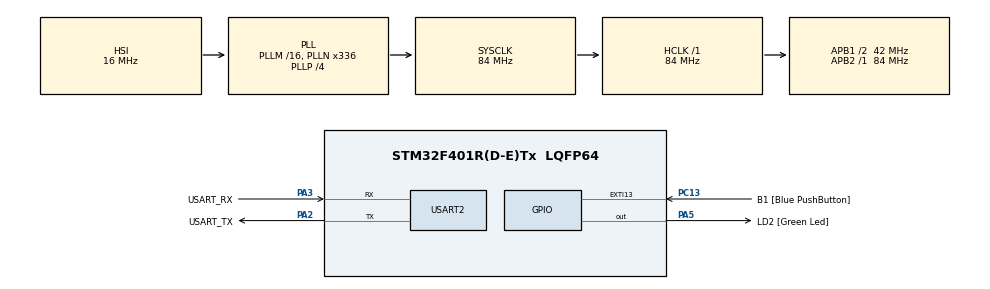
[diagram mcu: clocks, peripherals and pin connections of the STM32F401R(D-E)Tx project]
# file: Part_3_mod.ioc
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Dma.MEMTOMEM.0.Direction=DMA_MEMORY_TO_MEMORY
Dma.MEMTOMEM.0.FIFOMode=DMA_FIFOMODE_ENABLE
Dma.MEMTOMEM.0.FIFOThreshold=DMA_FIFO_THRESHOLD_1QUARTERFULL
Dma.MEMTOMEM.0.Instance=DMA2_Stream0
Dma.MEMTOMEM.0.MemBurst=DMA_MBURST_SINGLE
Dma.MEMTOMEM.0.MemDataAlignment=DMA_MDATAALIGN_WORD
Dma.MEMTOMEM.0.MemInc=DMA_MINC_ENABLE
Dma.MEMTOMEM.0.Mode=DMA_NORMAL
Dma.MEMTOMEM.0.PeriphBurst=DMA_PBURST_SINGLE
Dma.MEMTOMEM.0.PeriphDataAlignment=DMA_PDATAALIGN_WORD
Dma.MEMTOMEM.0.PeriphInc=DMA_PINC_ENABLE
Dma.MEMTOMEM.0.Priority=DMA_PRIORITY_HIGH
Dma.Request0=MEMTOMEM
Mcu.Family=STM32F4
Mcu.Name=STM32F401R(D-E)Tx
Mcu.Package=LQFP64
NVIC.DMA2_Stream0_IRQn=true\:1\:0\:true\:false\:true\:true\:true\:true
NVIC.EXTI15_10_IRQn=true\:0\:0\:false\:false\:true\:true\:true\:true
NVIC.PriorityGroup=NVIC_PRIORITYGROUP_4
PA13.GPIO_Label=TMS
PA13.Mode=Serial_Wire
PA13.Signal=SYS_JTMS-SWDIO
PA14.GPIO_Label=TCK
PA14.Mode=Serial_Wire
PA14.Signal=SYS_JTCK-SWCLK
PA2.GPIO_Label=USART_TX
PA2.GPIO_Mode=GPIO_MODE_AF_PP
PA2.GPIO_PuPd=GPIO_NOPULL
PA2.GPIO_Speed=GPIO_SPEED_FREQ_LOW
PA2.Mode=Asynchronous
PA2.Signal=USART2_TX
PA3.GPIO_Label=USART_RX
PA3.GPIO_Mode=GPIO_MODE_AF_PP
PA3.GPIO_PuPd=GPIO_NOPULL
PA3.GPIO_Speed=GPIO_SPEED_FREQ_LOW
PA3.Mode=Asynchronous
PA3.Signal=USART2_RX
PA5.GPIO_Label=LD2 [Green Led]
PA5.GPIO_Mode=GPIO_MODE_OUTPUT_PP
PA5.GPIO_PuPd=GPIO_NOPULL
PA5.GPIO_Speed=GPIO_SPEED_FREQ_LOW
PA5.Signal=GPIO_Output
PB3.GPIO_Label=SWO
PB3.Signal=SYS_JTDO-SWO
PC13-ANTI_TAMP.GPIO_Label=B1 [Blue PushButton]
PC13-ANTI_TAMP.GPIO_ModeDefaultEXTI=GPIO_MODE_IT_FALLING
PC13-ANTI_TAMP.GPIO_PuPd=GPIO_NOPULL
PC13-ANTI_TAMP.Signal=GPXTI13
PC14-OSC32_IN.Mode=LSE-External-Oscillator
PC14-OSC32_IN.Signal=RCC_OSC32_IN
PC15-OSC32_OUT.Mode=LSE-External-Oscillator
PC15-OSC32_OUT.Signal=RCC_OSC32_OUT
PH0\ -\ OSC_IN.Mode=HSE-External-Clock-Source
PH0\ -\ OSC_IN.Signal=RCC_OSC_IN
PH1\ -\ OSC_OUT.Mode=HSE-External-Clock-Source
PH1\ -\ OSC_OUT.Signal=RCC_OSC_OUT
ProjectManager.HeapSize=0x200
ProjectManager.StackSize=0x400
ProjectManager.TargetToolchain=STM32CubeIDE
RCC.48MHZClocksFreq_Value=48000000
RCC.AHBFreq_Value=84000000
RCC.APB1CLKDivider=RCC_HCLK_DIV2
RCC.APB1Freq_Value=42000000
RCC.APB1TimFreq_Value=84000000
RCC.APB2Freq_Value=84000000
RCC.APB2TimFreq_Value=84000000
RCC.CortexFreq_Value=84000000
RCC.HCLKFreq_Value=84000000
RCC.HSE_VALUE=8000000
RCC.HSI_VALUE=16000000
RCC.PLLN=336
RCC.PLLP=RCC_PLLP_DIV4
RCC.PLLQ=7
RCC.SYSCLKFreq_VALUE=84000000
RCC.SYSCLKSource=RCC_SYSCLKSOURCE_PLLCLK
RCC.VCOOutputFreq_Value=336000000
USART2.VirtualMode=VM_ASYNC
board=NUCLEO-F401RE

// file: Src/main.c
/* USER CODE BEGIN Header */
/**
  ******************************************************************************
  * @file           : main.c
  * @brief          : Main program body
  ******************************************************************************
  * @attention
  *
  * Copyright (c) 2024 STMicroelectronics.
  * All rights reserved.
  *
  * This software is licensed under terms that can be found in the LICENSE file
  * in the root directory of this software component.
  * If no LICENSE file comes with this software, it is provided AS-IS.
  *
  ******************************************************************************
  */
/* USER CODE END Header */
#include "main.h"
#include "dma.h"
#include "usart.h"
#include "gpio.h"

/* USER CODE BEGIN PD */

#define BUFFER_SIZE 4

/* USER CODE END PD */

/* USER CODE BEGIN PV */

static const uint32_t Flash_Buffer[BUFFER_SIZE]= {0x4E41554A, 0x36373839, 0x32333435, 0x34343031};

static uint32_t SRAM_Buffer[BUFFER_SIZE];

uint32_t *SRAM_ptr = SRAM_Buffer;

/* USER CODE END PV */

void SystemClock_Config(void);
/* USER CODE BEGIN PFP */

void Error_Handler(void);
static void TransferComplete(DMA_HandleTypeDef *DmaHandle);
static void TransferError(DMA_HandleTypeDef *DmaHandle);

/* USER CODE END PFP */

int main(void)
{

  /* MCU Configuration--------------------------------------------------------*/

  /* Reset of all peripherals, Initializes the Flash interface and the Systick. */
  HAL_Init();

  /* Configure the system clock */
  SystemClock_Config();

  /* Initialize all configured peripherals */
  MX_GPIO_Init();
  MX_DMA_Init();
  MX_USART2_UART_Init();
  /* USER CODE BEGIN 2 */

  HAL_DMA_RegisterCallback(&hdma_memtomem_dma2_stream0, HAL_DMA_XFER_CPLT_CB_ID, TransferComplete);
  HAL_DMA_RegisterCallback(&hdma_memtomem_dma2_stream0, HAL_DMA_XFER_ERROR_CB_ID, TransferError);

  //HAL_UART_MspInit(&huart2);

  /* USER CODE END 2 */

  /* Infinite loop */
  while (1)
  {

  }
}

void SystemClock_Config(void)
{
  RCC_OscInitTypeDef RCC_OscInitStruct = {0};
  RCC_ClkInitTypeDef RCC_ClkInitStruct = {0};

  /** Configure the main internal regulator output voltage
  */
  __HAL_RCC_PWR_CLK_ENABLE();
  __HAL_PWR_VOLTAGESCALING_CONFIG(PWR_REGULATOR_VOLTAGE_SCALE2);

  /** Initializes the RCC Oscillators according to the specified parameters
  * in the RCC_OscInitTypeDef structure.
  */
  RCC_OscInitStruct.OscillatorType = RCC_OSCILLATORTYPE_HSI;
  RCC_OscInitStruct.HSIState = RCC_HSI_ON;
  RCC_OscInitStruct.HSICalibrationValue = RCC_HSICALIBRATION_DEFAULT;
  RCC_OscInitStruct.PLL.PLLState = RCC_PLL_ON;
  RCC_OscInitStruct.PLL.PLLSource = RCC_PLLSOURCE_HSI;
  RCC_OscInitStruct.PLL.PLLM = 16;
  RCC_OscInitStruct.PLL.PLLN = 336;
  RCC_OscInitStruct.PLL.PLLP = RCC_PLLP_DIV4;
  RCC_OscInitStruct.PLL.PLLQ = 7;
  if (HAL_RCC_OscConfig(&RCC_OscInitStruct) != HAL_OK)
  {
    Error_Handler();
  }

  /** Initializes the CPU, AHB and APB buses clocks
  */
  RCC_ClkInitStruct.ClockType = RCC_CLOCKTYPE_HCLK|RCC_CLOCKTYPE_SYSCLK
                              |RCC_CLOCKTYPE_PCLK1|RCC_CLOCKTYPE_PCLK2;
  RCC_ClkInitStruct.SYSCLKSource = RCC_SYSCLKSOURCE_PLLCLK;
  RCC_ClkInitStruct.AHBCLKDivider = RCC_SYSCLK_DIV1;
  RCC_ClkInitStruct.APB1CLKDivider = RCC_HCLK_DIV2;
  RCC_ClkInitStruct.APB2CLKDivider = RCC_HCLK_DIV1;

  if (HAL_RCC_ClockConfig(&RCC_ClkInitStruct, FLASH_LATENCY_2) != HAL_OK)
  {
    Error_Handler();
  }
}

/* USER CODE BEGIN 4 */

/**
* @brief EXTI line detection callbacks.
* @details Toggle the LED4 each time the callback for the B1_Pin (blue button) is
received.
* @param GPIO_Pin Specifies the pins connected EXTI line
* @retval None
*/
void HAL_GPIO_EXTI_Callback(uint16_t GPIO_Pin){
  if(GPIO_Pin == B1_Pin){
    HAL_GPIO_TogglePin(LD2_GPIO_Port, LD2_Pin);
    if(HAL_DMA_Start_IT(&hdma_memtomem_dma2_stream0, (uint32_t)&Flash_Buffer, (uint32_t)&SRAM_Buffer, BUFFER_SIZE) != HAL_OK){
      Error_Handler();
    }
  }
}

/**
  * @brief  DMA conversion complete callback
  * @note   This function is executed when the transfer complete interrupt
  *         is generated
  * @retval None
  */
static void TransferComplete(DMA_HandleTypeDef *DmaHandle){
  HAL_Delay(100);
  if(HAL_UART_Transmit(&huart2, SRAM_ptr, BUFFER_SIZE*sizeof(SRAM_ptr), 5000) != HAL_OK){
      Error_Handler();
    } else {
      HAL_GPIO_TogglePin(LD2_GPIO_Port, LD2_Pin);
    }

}

/**
  * @brief  DMA conversion error callback
  * @note   This function is executed when the transfer error interrupt
  *         is generated during DMA transfer
  * @retval None
  */
static void TransferError(DMA_HandleTypeDef *DmaHandle){
  HAL_GPIO_WritePin(LD2_GPIO_Port, LD2_Pin, GPIO_PIN_SET);
}

/* USER CODE END 4 */

void Error_Handler(void)
{
  __disable_irq();
  while (1)
  {
  }
}
